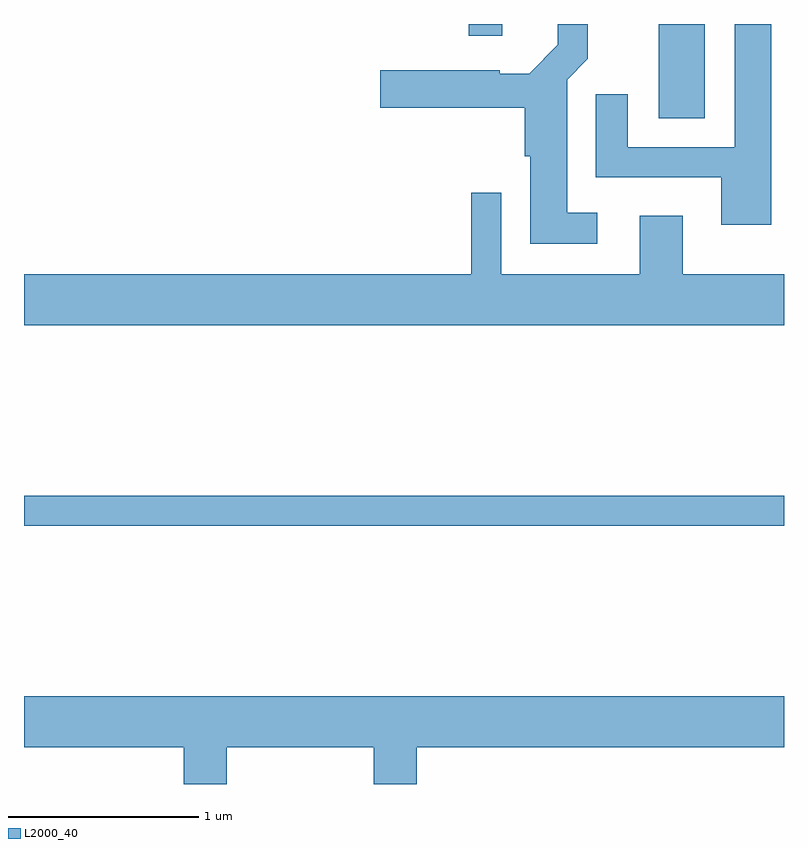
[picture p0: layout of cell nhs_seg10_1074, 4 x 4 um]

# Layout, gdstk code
import gdstk
lib = gdstk.Library(unit=1e-6, precision=1e-09)
def R(c, l, rs):  # rectangles x0, y0, x1, y1
    for r in rs: c.add(gdstk.rectangle(r[:2], r[2:], *l))
def P(c, l, *ps):  # polygons
    for p in ps: c.add(gdstk.Polygon(p, *l))
L2000_40 = (2000, 40)

nhs_seg10_1074 = lib.new_cell('nhs_seg10_1074')
R(nhs_seg10_1074, L2000_40, [(215.611,2203.881,219.611,2204.039), (218.951,2206.026,219.194,2206.522), (217.951,2206.461,218.129,2206.522)])
P(nhs_seg10_1074, L2000_40, [(218.628,2205.529),(218.469,2205.529),(218.469,2206.229),(218.579,2206.339),(218.579,2206.522),(218.421,2206.522),(218.421,2206.412),(218.269,2206.259),(218.114,2206.259),(218.114,2206.279),(217.486,2206.279),(217.486,2206.081),(218.246,2206.081),(218.246,2205.826),(218.276,2205.826),(218.276,2205.366),(218.628,2205.366)],
  [(219.544,2206.522),(219.351,2206.522),(219.351,2205.874),(218.789,2205.874),(218.789,2206.153),(218.621,2206.153),(218.621,2205.716),(219.281,2205.716),(219.281,2205.466),(219.544,2205.466)],
  [(219.611,2205.204),(219.079,2205.204),(219.079,2205.514),(218.851,2205.514),(218.851,2205.204),(218.124,2205.204),(218.124,2205.633),(217.966,2205.633),(217.966,2205.204),(215.611,2205.204),(215.611,2204.936),(219.611,2204.936)],
  [(216.679,2202.716),(217.451,2202.716),(217.451,2202.522),(217.679,2202.522),(217.679,2202.716),(219.611,2202.716),(219.611,2202.984),(215.611,2202.984),(215.611,2202.716),(216.451,2202.716),(216.451,2202.522),(216.679,2202.522)])

lib.write_gds('nhs_seg10_1074.gds')
